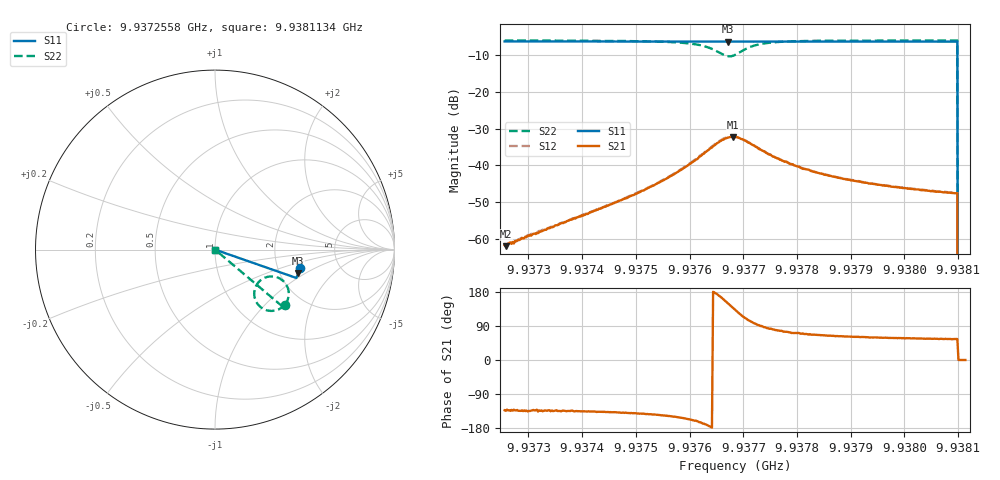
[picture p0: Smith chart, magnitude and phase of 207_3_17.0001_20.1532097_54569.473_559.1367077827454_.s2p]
#  HZ  S  RI  R  50.00
! Rohde & Schwarz Vector Network Analyzer
! Rohde-Schwarz,ZNB20-2Port,1311601062101988,3.16
! Created: UTC 3/20/2024, 11:01:19 PM
! freq[Hz]  re:S11  im:S11  re:S21  im:S21  re:S12  im:S12  re:S22  im:S22
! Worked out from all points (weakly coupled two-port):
!   401 points, 9.9372558 GHz to 9.9381134 GHz, reference 50 ohm
!   highest |S21| = -32.27 dB at 9.9376803 GHz (marker M1); lowest = -61.9 dB at 9.9372579 GHz (marker M2)
!   lowest |S11| = -6.4 dB at 9.9376717 GHz (marker M3), VSWR 2.84, Z = 125 - j42.3 ohm
!   |S11| at or under -10 dB: 9.9380984 GHz to end of sweep
!   |S22| runs from - to -6.1 dB; largest |S21 - S12| = 0.0011
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9.93725578e9  0.4725 -0.1037  -0.000558 -0.000604  -0.000579 -0.000566  0.3914 -0.3076
9.93725792e9  0.4723 -0.1039  -0.000556 -0.000575  -0.000553 -0.000591  0.3911 -0.3078
9.93730295e9  0.4714 -0.1069  -0.000799 -0.000813  -0.000775 -0.000814  0.3873 -0.3114
9.93739942e9  0.4694 -0.1134  -0.0015 -0.00148  -0.00149 -0.00142  0.3765 -0.3205
9.9374809e9  0.4677 -0.1189  -0.00268 -0.00236  -0.00277 -0.00234  0.3616 -0.3299
9.93754307e9  0.4661 -0.123  -0.00478 -0.00333  -0.00492 -0.00331  0.3407 -0.3383
9.93758809e9  0.4648 -0.1262  -0.00813 -0.0041  -0.00835 -0.00402  0.3108 -0.3416
9.93762669e9  0.4631 -0.1288  -0.0141 -0.00298  -0.0146 -0.00268  0.2617 -0.3257
9.93765456e9  0.4618 -0.13  -0.0203 0.00364  -0.0209 0.00416  0.2201 -0.2641
9.93767171e9  0.461 -0.1301  -0.0206 0.0121  -0.0205 0.0131  0.2321 -0.1962
9.93768029e9  0.4612 -0.1301  -0.0181 0.0162  -0.0179 0.0172  0.2581 -0.1676
9.93768457e9  0.4613 -0.1302  -0.0165 0.0178  -0.016 0.0187  0.2747 -0.158
9.93769529e9  0.4615 -0.1305  -0.0114 0.0199  -0.0108 0.0207  0.3175 -0.1494
9.93770816e9  0.4618 -0.1313  -0.00573 0.0199  -0.00533 0.0202  0.3595 -0.1603
9.93773388e9  0.462 -0.1332  3.03e-05 0.0161  0.00078 0.0163  0.4 -0.201
9.93777248e9  0.4615 -0.1362  0.00271 0.0113  0.0031 0.0111  0.4112 -0.2446
9.93782822e9  0.4604 -0.1401  0.00323 0.00765  0.00342 0.00767  0.4067 -0.2761
9.93789039e9  0.459 -0.1445  0.00303 0.00571  0.00317 0.00573  0.3993 -0.2939
9.93797187e9  0.4569 -0.1499  0.00275 0.00445  0.00284 0.00443  0.3909 -0.3075
9.93809407e9  0.4536 -0.1579  0.00239 0.00344  0.00249 0.00343  0.3811 -0.3206
9.93810479e9  0 0  0 0  0 0  0 0
9.93811337e9  0 0  0 0  0 0  0 0
